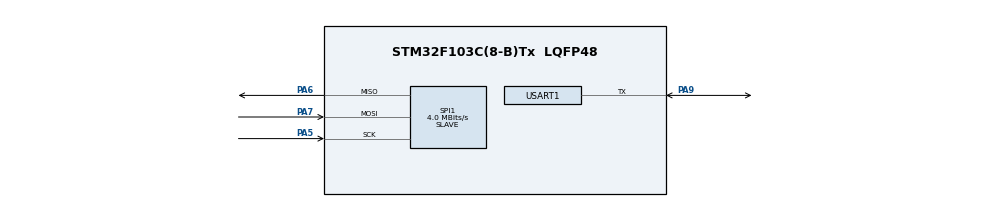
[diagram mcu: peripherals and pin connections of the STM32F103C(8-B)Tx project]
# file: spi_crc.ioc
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FREERTOS.Tasks01=defaultTask,0,128,StartDefaultTask,Default,NULL
Mcu.Family=STM32F1
Mcu.Name=STM32F103C(8-B)Tx
Mcu.Package=LQFP48
NVIC.PriorityGroup=NVIC_PRIORITYGROUP_4
NVIC.SPI1_IRQn=true\:5\:0\:false\:false\:true\:true\:true
PA13.Mode=Serial_Wire
PA13.Signal=SYS_JTMS-SWDIO
PA14.Mode=Serial_Wire
PA14.Signal=SYS_JTCK-SWCLK
PA5.Mode=Full_Duplex_Slave
PA5.Signal=SPI1_SCK
PA6.Mode=Full_Duplex_Slave
PA6.Signal=SPI1_MISO
PA7.Mode=Full_Duplex_Slave
PA7.Signal=SPI1_MOSI
PA9.Mode=Half_duplex(single_wire_mode)
PA9.Signal=USART1_TX
ProjectManager.HeapSize=0x200
ProjectManager.StackSize=0x400
ProjectManager.TargetToolchain=SW4STM32
RCC.APB1Freq_Value=8000000
RCC.APB2Freq_Value=8000000
SPI1.CalculateBaudRate=4.0 MBits/s
SPI1.Direction=SPI_DIRECTION_2LINES
SPI1.Mode=SPI_MODE_SLAVE
SPI1.VirtualType=VM_SLAVE
USART1.VirtualMode=VM_ASYNC
VP_CRC_VS_CRC.Mode=CRC_Activate
VP_FREERTOS_VS_ENABLE.Mode=Enabled
board=spi_crc

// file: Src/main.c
/**
  ******************************************************************************
  * File Name          : main.c
  * Description        : Main program body
  ******************************************************************************
  * This notice applies to any and all portions of this file
  * that are not between comment pairs USER CODE BEGIN and
  * USER CODE END. Other portions of this file, whether
  * inserted by the user or by software development tools
  * are owned by their respective copyright owners.
  *
  * Copyright (c) 2018 STMicroelectronics International N.V.
  * All rights reserved.
  *
  * Redistribution and use in source and binary forms, with or without
  * modification, are permitted, provided that the following conditions are met:
  *
  * 1. Redistribution of source code must retain the above copyright notice,
  *    this list of conditions and the following disclaimer.
  * 2. Redistributions in binary form must reproduce the above copyright notice,
  *    this list of conditions and the following disclaimer in the documentation
  *    and/or other materials provided with the distribution.
  * 3. Neither the name of STMicroelectronics nor the names of other
  *    contributors to this software may be used to endorse or promote products
  *    derived from this software without specific written permission.
  * 4. This software, including modifications and/or derivative works of this
  *    software, must execute solely and exclusively on microcontroller or
  *    microprocessor devices manufactured by or for STMicroelectronics.
  * 5. Redistribution and use of this software other than as permitted under
  *    this license is void and will automatically terminate your rights under
  *    this license.
  *
  * THIS SOFTWARE IS PROVIDED BY STMICROELECTRONICS AND CONTRIBUTORS "AS IS"
  * AND ANY EXPRESS, IMPLIED OR STATUTORY WARRANTIES, INCLUDING, BUT NOT
  * LIMITED TO, THE IMPLIED WARRANTIES OF MERCHANTABILITY, FITNESS FOR A
  * PARTICULAR PURPOSE AND NON-INFRINGEMENT OF THIRD PARTY INTELLECTUAL PROPERTY
  * RIGHTS ARE DISCLAIMED TO THE FULLEST EXTENT PERMITTED BY LAW. IN NO EVENT
  * SHALL STMICROELECTRONICS OR CONTRIBUTORS BE LIABLE FOR ANY DIRECT, INDIRECT,
  * INCIDENTAL, SPECIAL, EXEMPLARY, OR CONSEQUENTIAL DAMAGES (INCLUDING, BUT NOT
  * LIMITED TO, PROCUREMENT OF SUBSTITUTE GOODS OR SERVICES; LOSS OF USE, DATA,
  * OR PROFITS; OR BUSINESS INTERRUPTION) HOWEVER CAUSED AND ON ANY THEORY OF
  * LIABILITY, WHETHER IN CONTRACT, STRICT LIABILITY, OR TORT (INCLUDING
  * NEGLIGENCE OR OTHERWISE) ARISING IN ANY WAY OUT OF THE USE OF THIS SOFTWARE,
  * EVEN IF ADVISED OF THE POSSIBILITY OF SUCH DAMAGE.
  *
  ******************************************************************************
  */

#include "main.h"
#include "stm32f1xx_hal.h"
#include "cmsis_os.h"
#include "crc.h"
#include "spi.h"
#include "usart.h"
#include "gpio.h"

/* USER CODE BEGIN PV */
/* Private variables ---------------------------------------------------------*/

/* USER CODE END PV */

void SystemClock_Config(void);
void MX_FREERTOS_Init(void);

/* USER CODE BEGIN PFP */
/* Private function prototypes -----------------------------------------------*/

/* USER CODE END PFP */

int main(void)
{

  /* MCU Configuration----------------------------------------------------------*/

  /* Reset of all peripherals, Initializes the Flash interface and the Systick. */
  HAL_Init();

  /* Configure the system clock */
  SystemClock_Config();

  /* Initialize all configured peripherals */
  MX_GPIO_Init();
  MX_SPI1_Init();
  MX_USART1_UART_Init();
  MX_CRC_Init();

  /* Call init function for freertos objects (in freertos.c) */
  MX_FREERTOS_Init();

  /* Start scheduler */
  osKernelStart();

  /* We should never get here as control is now taken by the scheduler */

  /* Infinite loop */
  while (1)
  {

  }

}

/** System Clock Configuration
*/
void SystemClock_Config(void)
{

  RCC_OscInitTypeDef RCC_OscInitStruct;
  RCC_ClkInitTypeDef RCC_ClkInitStruct;

    /**Initializes the CPU, AHB and APB busses clocks
    */
  RCC_OscInitStruct.OscillatorType = RCC_OSCILLATORTYPE_HSI;
  RCC_OscInitStruct.HSIState = RCC_HSI_ON;
  RCC_OscInitStruct.HSICalibrationValue = 16;
  RCC_OscInitStruct.PLL.PLLState = RCC_PLL_NONE;
  if (HAL_RCC_OscConfig(&RCC_OscInitStruct) != HAL_OK)
  {
    _Error_Handler(__FILE__, __LINE__);
  }

    /**Initializes the CPU, AHB and APB busses clocks
    */
  RCC_ClkInitStruct.ClockType = RCC_CLOCKTYPE_HCLK|RCC_CLOCKTYPE_SYSCLK
                              |RCC_CLOCKTYPE_PCLK1|RCC_CLOCKTYPE_PCLK2;
  RCC_ClkInitStruct.SYSCLKSource = RCC_SYSCLKSOURCE_HSI;
  RCC_ClkInitStruct.AHBCLKDivider = RCC_SYSCLK_DIV1;
  RCC_ClkInitStruct.APB1CLKDivider = RCC_HCLK_DIV1;
  RCC_ClkInitStruct.APB2CLKDivider = RCC_HCLK_DIV1;

  if (HAL_RCC_ClockConfig(&RCC_ClkInitStruct, FLASH_LATENCY_0) != HAL_OK)
  {
    _Error_Handler(__FILE__, __LINE__);
  }

    /**Configure the Systick interrupt time
    */
  HAL_SYSTICK_Config(HAL_RCC_GetHCLKFreq()/1000);

    /**Configure the Systick
    */
  HAL_SYSTICK_CLKSourceConfig(SYSTICK_CLKSOURCE_HCLK);

  /* SysTick_IRQn interrupt configuration */
  HAL_NVIC_SetPriority(SysTick_IRQn, 15, 0);
}

void _Error_Handler(char * file, int line)
{
  while(1)
  {
  }
}

/************************ (C) COPYRIGHT STMicroelectronics *****END OF FILE****/

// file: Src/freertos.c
/**
  ******************************************************************************
  * File Name          : freertos.c
  * Description        : Code for freertos applications
  ******************************************************************************
  * This notice applies to any and all portions of this file
  * that are not between comment pairs USER CODE BEGIN and
  * USER CODE END. Other portions of this file, whether
  * inserted by the user or by software development tools
  * are owned by their respective copyright owners.
  *
  * Copyright (c) 2018 STMicroelectronics International N.V.
  * All rights reserved.
  *
  * Redistribution and use in source and binary forms, with or without
  * modification, are permitted, provided that the following conditions are met:
  *
  * 1. Redistribution of source code must retain the above copyright notice,
  *    this list of conditions and the following disclaimer.
  * 2. Redistributions in binary form must reproduce the above copyright notice,
  *    this list of conditions and the following disclaimer in the documentation
  *    and/or other materials provided with the distribution.
  * 3. Neither the name of STMicroelectronics nor the names of other
  *    contributors to this software may be used to endorse or promote products
  *    derived from this software without specific written permission.
  * 4. This software, including modifications and/or derivative works of this
  *    software, must execute solely and exclusively on microcontroller or
  *    microprocessor devices manufactured by or for STMicroelectronics.
  * 5. Redistribution and use of this software other than as permitted under
  *    this license is void and will automatically terminate your rights under
  *    this license.
  *
  * THIS SOFTWARE IS PROVIDED BY STMICROELECTRONICS AND CONTRIBUTORS "AS IS"
  * AND ANY EXPRESS, IMPLIED OR STATUTORY WARRANTIES, INCLUDING, BUT NOT
  * LIMITED TO, THE IMPLIED WARRANTIES OF MERCHANTABILITY, FITNESS FOR A
  * PARTICULAR PURPOSE AND NON-INFRINGEMENT OF THIRD PARTY INTELLECTUAL PROPERTY
  * RIGHTS ARE DISCLAIMED TO THE FULLEST EXTENT PERMITTED BY LAW. IN NO EVENT
  * SHALL STMICROELECTRONICS OR CONTRIBUTORS BE LIABLE FOR ANY DIRECT, INDIRECT,
  * INCIDENTAL, SPECIAL, EXEMPLARY, OR CONSEQUENTIAL DAMAGES (INCLUDING, BUT NOT
  * LIMITED TO, PROCUREMENT OF SUBSTITUTE GOODS OR SERVICES; LOSS OF USE, DATA,
  * OR PROFITS; OR BUSINESS INTERRUPTION) HOWEVER CAUSED AND ON ANY THEORY OF
  * LIABILITY, WHETHER IN CONTRACT, STRICT LIABILITY, OR TORT (INCLUDING
  * NEGLIGENCE OR OTHERWISE) ARISING IN ANY WAY OUT OF THE USE OF THIS SOFTWARE,
  * EVEN IF ADVISED OF THE POSSIBILITY OF SUCH DAMAGE.
  *
  ******************************************************************************
  */

#include "FreeRTOS.h"
#include "task.h"
#include "cmsis_os.h"

/* USER CODE BEGIN Includes */
#include "stm32f1xx.h"
#include "spi.h"
#include "crc.h"
#include "usart.h"

/* USER CODE END Includes */

osThreadId defaultTaskHandle;

/* USER CODE BEGIN Variables */
#define BUFSIZE 64

extern int pxHigherPriorityTaskWoken;

int computing = 0;

uint8_t rxBuffer[BUFSIZE];
uint8_t txBuffer[BUFSIZE];

/* USER CODE END Variables */

void StartDefaultTask(void const * argument);

void MX_FREERTOS_Init(void); /* (MISRA C 2004 rule 8.1) */

/* USER CODE BEGIN FunctionPrototypes */
void start_over();
/* USER CODE END FunctionPrototypes */

/* Hook prototypes */

/* Init FreeRTOS */

void MX_FREERTOS_Init(void) {

  /* Create the thread(s) */
  /* definition and creation of defaultTask */
  osThreadDef(defaultTask, StartDefaultTask, osPriorityNormal, 0, 128);
  defaultTaskHandle = osThreadCreate(osThread(defaultTask), NULL);

}

/* StartDefaultTask function */
void StartDefaultTask(void const * argument)
{

  /* USER CODE BEGIN StartDefaultTask */
	start_over();
	for(;;) {
		ulTaskNotifyTake(pdTRUE, portMAX_DELAY);
		osDelay(1000);

		// reset CRC unit, so that we will start with initial value
		__HAL_CRC_DR_RESET(&hcrc);

		// compute CRC word by word
		for(uint32_t index = 0U; index < sizeof(rxBuffer); index += sizeof(uint32_t)) {
			int swapped = (rxBuffer[index + 0] << 24) | (rxBuffer[index + 1] << 16) | (rxBuffer[index + 2] << 8) | rxBuffer[index + 3];
			hcrc.Instance->DR = swapped;
		}

		// read CRC and enable spi again
		uint32_t crc = hcrc.Instance->DR;
		*((uint32_t*) txBuffer) = crc;
		start_over();

		// send usart interrupt to rapsberry pi
		char c = 'R';
		configASSERT(HAL_UART_Transmit(&huart1, &c, 1, HAL_MAX_DELAY) == HAL_OK);
	}
  /* USER CODE END StartDefaultTask */
}

/* USER CODE BEGIN Application */
void HAL_SPI_TxRxCpltCallback(SPI_HandleTypeDef *hspi) {
	if(computing == 0) {
		computing = 1;
		vTaskNotifyGiveFromISR(defaultTaskHandle, &pxHigherPriorityTaskWoken);
	} else {
		computing = 0;
		start_over();
	}
}

void HAL_SPI_ErrorCallback(SPI_HandleTypeDef *hspi) {
	asm("bkpt #1");
}

void start_over() {
	int val = HAL_SPI_TransmitReceive_IT(&hspi1, txBuffer, rxBuffer, sizeof(rxBuffer));
	configASSERT(val == HAL_OK);
}

/* USER CODE END Application */

/************************ (C) COPYRIGHT STMicroelectronics *****END OF FILE****/
